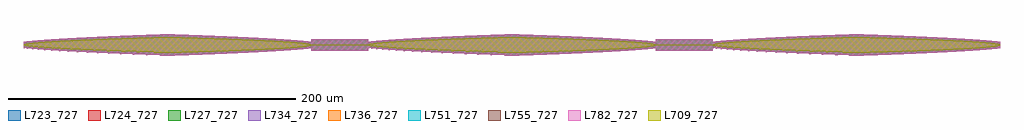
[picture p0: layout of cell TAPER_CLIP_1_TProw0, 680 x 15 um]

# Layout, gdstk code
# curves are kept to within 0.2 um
from math import pi, radians
import gdstk
lib = gdstk.Library(unit=1e-6, precision=1e-09)
def R(c, l, rs):  # rectangles x0, y0, x1, y1
    for r in rs: c.add(gdstk.rectangle(r[:2], r[2:], *l))
def P(c, l, *ps):  # polygons
    for p in ps: c.add(gdstk.Polygon(p, *l))
L709_727 = (709, 727)
L723_727 = (723, 727)
L724_727 = (724, 727)
L727_727 = (727, 727)
L734_727 = (734, 727)
L736_727 = (736, 727)
L751_727 = (751, 727)
L755_727 = (755, 727)
L782_727 = (782, 727)

taper_clip_1_tprow0_tp0_ = lib.new_cell('TAPER_CLIP_1_TProw0_tp0_TAPER_L')
P(taper_clip_1_tprow0_tp0_, L709_727, [(-100,0.225),(-97.574,0.885),(-92.161,1.555),(-72.988,2.865),(-42.449,4.175),(0,5.5),(0,-5.5),(-45.451,-4.065),(-77.002,-2.645),(-95.36,-1.205),(-99.389,-0.485),(-100,-0.225)])
P(taper_clip_1_tprow0_tp0_, L723_727, [(-100,2.225),(-85.015,3.555),(-63.513,4.865),(0,7.5),(0,-7.5),(-59.642,-5.065),(-96.116,-2.635),(-100,-2.225)])
P(taper_clip_1_tprow0_tp0_, L724_727, [(-100,2.225),(-85.015,3.555),(-63.513,4.865),(0,7.5),(0,-7.5),(-59.642,-5.065),(-96.116,-2.635),(-100,-2.225)])
P(taper_clip_1_tprow0_tp0_, L727_727, [(-100,2.225),(-85.015,3.555),(-63.513,4.865),(0,7.5),(0,-7.5),(-59.642,-5.065),(-96.116,-2.635),(-100,-2.225)])
P(taper_clip_1_tprow0_tp0_, L734_727, [(-100,2.225),(-85.015,3.555),(-63.513,4.865),(0,7.5),(0,-7.5),(-59.642,-5.065),(-96.116,-2.635),(-100,-2.225)])
P(taper_clip_1_tprow0_tp0_, L736_727, [(-100,2.225),(-85.015,3.555),(-63.513,4.865),(0,7.5),(0,-7.5),(-59.642,-5.065),(-96.116,-2.635),(-100,-2.225)])
P(taper_clip_1_tprow0_tp0_, L751_727, [(-100,2.225),(-85.015,3.555),(-63.513,4.865),(0,7.5),(0,-7.5),(-59.642,-5.065),(-96.116,-2.635),(-100,-2.225)])
P(taper_clip_1_tprow0_tp0_, L755_727, [(-100,2.225),(-85.015,3.555),(-63.513,4.865),(0,7.5),(0,-7.5),(-59.642,-5.065),(-96.116,-2.635),(-100,-2.225)])
P(taper_clip_1_tprow0_tp0_, L782_727, [(-100,2.225),(-85.015,3.555),(-63.513,4.865),(0,7.5),(0,-7.5),(-59.642,-5.065),(-96.116,-2.635),(-100,-2.225)])

c_taper_clip_1_tprow0_tp0_ = lib.new_cell('TAPER_CLIP_1_TProw0_tp0_TAPER_R')
P(c_taper_clip_1_tprow0_tp0_, L709_727, [(-100,0.225),(-97.574,0.885),(-92.161,1.555),(-72.988,2.865),(-42.449,4.175),(0,5.5),(0,-5.5),(-45.451,-4.065),(-77.002,-2.645),(-95.36,-1.205),(-99.389,-0.485),(-100,-0.225)])
P(c_taper_clip_1_tprow0_tp0_, L723_727, [(-100,2.225),(-85.015,3.555),(-63.513,4.865),(0,7.5),(0,-7.5),(-59.642,-5.065),(-96.116,-2.635),(-100,-2.225)])
P(c_taper_clip_1_tprow0_tp0_, L724_727, [(-100,2.225),(-85.015,3.555),(-63.513,4.865),(0,7.5),(0,-7.5),(-59.642,-5.065),(-96.116,-2.635),(-100,-2.225)])
P(c_taper_clip_1_tprow0_tp0_, L727_727, [(-100,2.225),(-85.015,3.555),(-63.513,4.865),(0,7.5),(0,-7.5),(-59.642,-5.065),(-96.116,-2.635),(-100,-2.225)])
P(c_taper_clip_1_tprow0_tp0_, L734_727, [(-100,2.225),(-85.015,3.555),(-63.513,4.865),(0,7.5),(0,-7.5),(-59.642,-5.065),(-96.116,-2.635),(-100,-2.225)])
P(c_taper_clip_1_tprow0_tp0_, L736_727, [(-100,2.225),(-85.015,3.555),(-63.513,4.865),(0,7.5),(0,-7.5),(-59.642,-5.065),(-96.116,-2.635),(-100,-2.225)])
P(c_taper_clip_1_tprow0_tp0_, L751_727, [(-100,2.225),(-85.015,3.555),(-63.513,4.865),(0,7.5),(0,-7.5),(-59.642,-5.065),(-96.116,-2.635),(-100,-2.225)])
P(c_taper_clip_1_tprow0_tp0_, L755_727, [(-100,2.225),(-85.015,3.555),(-63.513,4.865),(0,7.5),(0,-7.5),(-59.642,-5.065),(-96.116,-2.635),(-100,-2.225)])
P(c_taper_clip_1_tprow0_tp0_, L782_727, [(-100,2.225),(-85.015,3.555),(-63.513,4.865),(0,7.5),(0,-7.5),(-59.642,-5.065),(-96.116,-2.635),(-100,-2.225)])

taper_clip_1_tprow0_tp0 = lib.new_cell('TAPER_CLIP_1_TProw0_tp0')
taper_clip_1_tprow0_tp0.add(gdstk.Reference(taper_clip_1_tprow0_tp0_, (0,0)))
taper_clip_1_tprow0_tp0.add(gdstk.Reference(c_taper_clip_1_tprow0_tp0_, (0,0), rotation=pi, x_reflection=True))

taper_clip_1_tprow0_tp1_ = lib.new_cell('TAPER_CLIP_1_TProw0_tp1_TAPER_L')
P(taper_clip_1_tprow0_tp1_, L709_727, [(-100,0.225),(-97.574,0.885),(-92.161,1.555),(-72.988,2.865),(-42.449,4.175),(0,5.5),(0,-5.5),(-45.451,-4.065),(-77.002,-2.645),(-95.36,-1.205),(-99.389,-0.485),(-100,-0.225)])
P(taper_clip_1_tprow0_tp1_, L723_727, [(-100,2.225),(-85.015,3.555),(-63.513,4.865),(0,7.5),(0,-7.5),(-59.642,-5.065),(-96.116,-2.635),(-100,-2.225)])
P(taper_clip_1_tprow0_tp1_, L724_727, [(-100,2.225),(-85.015,3.555),(-63.513,4.865),(0,7.5),(0,-7.5),(-59.642,-5.065),(-96.116,-2.635),(-100,-2.225)])
P(taper_clip_1_tprow0_tp1_, L727_727, [(-100,2.225),(-85.015,3.555),(-63.513,4.865),(0,7.5),(0,-7.5),(-59.642,-5.065),(-96.116,-2.635),(-100,-2.225)])
P(taper_clip_1_tprow0_tp1_, L734_727, [(-100,2.225),(-85.015,3.555),(-63.513,4.865),(0,7.5),(0,-7.5),(-59.642,-5.065),(-96.116,-2.635),(-100,-2.225)])
P(taper_clip_1_tprow0_tp1_, L736_727, [(-100,2.225),(-85.015,3.555),(-63.513,4.865),(0,7.5),(0,-7.5),(-59.642,-5.065),(-96.116,-2.635),(-100,-2.225)])
P(taper_clip_1_tprow0_tp1_, L751_727, [(-100,2.225),(-85.015,3.555),(-63.513,4.865),(0,7.5),(0,-7.5),(-59.642,-5.065),(-96.116,-2.635),(-100,-2.225)])
P(taper_clip_1_tprow0_tp1_, L755_727, [(-100,2.225),(-85.015,3.555),(-63.513,4.865),(0,7.5),(0,-7.5),(-59.642,-5.065),(-96.116,-2.635),(-100,-2.225)])
P(taper_clip_1_tprow0_tp1_, L782_727, [(-100,2.225),(-85.015,3.555),(-63.513,4.865),(0,7.5),(0,-7.5),(-59.642,-5.065),(-96.116,-2.635),(-100,-2.225)])

c_taper_clip_1_tprow0_tp1_ = lib.new_cell('TAPER_CLIP_1_TProw0_tp1_TAPER_R')
P(c_taper_clip_1_tprow0_tp1_, L709_727, [(-100,0.225),(-97.574,0.885),(-92.161,1.555),(-72.988,2.865),(-42.449,4.175),(0,5.5),(0,-5.5),(-45.451,-4.065),(-77.002,-2.645),(-95.36,-1.205),(-99.389,-0.485),(-100,-0.225)])
P(c_taper_clip_1_tprow0_tp1_, L723_727, [(-100,2.225),(-85.015,3.555),(-63.513,4.865),(0,7.5),(0,-7.5),(-59.642,-5.065),(-96.116,-2.635),(-100,-2.225)])
P(c_taper_clip_1_tprow0_tp1_, L724_727, [(-100,2.225),(-85.015,3.555),(-63.513,4.865),(0,7.5),(0,-7.5),(-59.642,-5.065),(-96.116,-2.635),(-100,-2.225)])
P(c_taper_clip_1_tprow0_tp1_, L727_727, [(-100,2.225),(-85.015,3.555),(-63.513,4.865),(0,7.5),(0,-7.5),(-59.642,-5.065),(-96.116,-2.635),(-100,-2.225)])
P(c_taper_clip_1_tprow0_tp1_, L734_727, [(-100,2.225),(-85.015,3.555),(-63.513,4.865),(0,7.5),(0,-7.5),(-59.642,-5.065),(-96.116,-2.635),(-100,-2.225)])
P(c_taper_clip_1_tprow0_tp1_, L736_727, [(-100,2.225),(-85.015,3.555),(-63.513,4.865),(0,7.5),(0,-7.5),(-59.642,-5.065),(-96.116,-2.635),(-100,-2.225)])
P(c_taper_clip_1_tprow0_tp1_, L751_727, [(-100,2.225),(-85.015,3.555),(-63.513,4.865),(0,7.5),(0,-7.5),(-59.642,-5.065),(-96.116,-2.635),(-100,-2.225)])
P(c_taper_clip_1_tprow0_tp1_, L755_727, [(-100,2.225),(-85.015,3.555),(-63.513,4.865),(0,7.5),(0,-7.5),(-59.642,-5.065),(-96.116,-2.635),(-100,-2.225)])
P(c_taper_clip_1_tprow0_tp1_, L782_727, [(-100,2.225),(-85.015,3.555),(-63.513,4.865),(0,7.5),(0,-7.5),(-59.642,-5.065),(-96.116,-2.635),(-100,-2.225)])

taper_clip_1_tprow0_tp1 = lib.new_cell('TAPER_CLIP_1_TProw0_tp1')
taper_clip_1_tprow0_tp1.add(gdstk.Reference(taper_clip_1_tprow0_tp1_, (0,0)))
taper_clip_1_tprow0_tp1.add(gdstk.Reference(c_taper_clip_1_tprow0_tp1_, (0,0), rotation=pi, x_reflection=True))

taper_clip_1_tprow0_wg1 = lib.new_cell('TAPER_CLIP_1_TProw0_WG1')
R(taper_clip_1_tprow0_wg1, L709_727, [(100,-0.2,140,0.2)])
P(taper_clip_1_tprow0_wg1, L723_727, [(100,-4),(140,-4),(140,-0.2),(140,0.2),(140,4),(100,4),(100,0.2),(100,-0.2)])
P(taper_clip_1_tprow0_wg1, L724_727, [(100,-4),(140,-4),(140,-0.2),(140,0.2),(140,4),(100,4),(100,0.2),(100,-0.2)])
P(taper_clip_1_tprow0_wg1, L727_727, [(100,-4),(140,-4),(140,-0.2),(140,0.2),(140,4),(100,4),(100,0.2),(100,-0.2)])
P(taper_clip_1_tprow0_wg1, L734_727, [(100,-4),(140,-4),(140,-0.2),(140,0.2),(140,4),(100,4),(100,0.2),(100,-0.2)])
P(taper_clip_1_tprow0_wg1, L736_727, [(100,-4),(140,-4),(140,-0.2),(140,0.2),(140,4),(100,4),(100,0.2),(100,-0.2)])
P(taper_clip_1_tprow0_wg1, L751_727, [(100,-4),(140,-4),(140,-0.2),(140,0.2),(140,4),(100,4),(100,0.2),(100,-0.2)])
P(taper_clip_1_tprow0_wg1, L755_727, [(100,-4),(140,-4),(140,-0.2),(140,0.2),(140,4),(100,4),(100,0.2),(100,-0.2)])
P(taper_clip_1_tprow0_wg1, L782_727, [(100,-4),(140,-4),(140,-0.2),(140,0.2),(140,4),(100,4),(100,0.2),(100,-0.2)])

taper_clip_1_tprow0_tp2_ = lib.new_cell('TAPER_CLIP_1_TProw0_tp2_TAPER_L')
P(taper_clip_1_tprow0_tp2_, L709_727, [(-100,0.225),(-97.574,0.885),(-92.161,1.555),(-72.988,2.865),(-42.449,4.175),(0,5.5),(0,-5.5),(-45.451,-4.065),(-77.002,-2.645),(-95.36,-1.205),(-99.389,-0.485),(-100,-0.225)])
P(taper_clip_1_tprow0_tp2_, L723_727, [(-100,2.225),(-85.015,3.555),(-63.513,4.865),(0,7.5),(0,-7.5),(-59.642,-5.065),(-96.116,-2.635),(-100,-2.225)])
P(taper_clip_1_tprow0_tp2_, L724_727, [(-100,2.225),(-85.015,3.555),(-63.513,4.865),(0,7.5),(0,-7.5),(-59.642,-5.065),(-96.116,-2.635),(-100,-2.225)])
P(taper_clip_1_tprow0_tp2_, L727_727, [(-100,2.225),(-85.015,3.555),(-63.513,4.865),(0,7.5),(0,-7.5),(-59.642,-5.065),(-96.116,-2.635),(-100,-2.225)])
P(taper_clip_1_tprow0_tp2_, L734_727, [(-100,2.225),(-85.015,3.555),(-63.513,4.865),(0,7.5),(0,-7.5),(-59.642,-5.065),(-96.116,-2.635),(-100,-2.225)])
P(taper_clip_1_tprow0_tp2_, L736_727, [(-100,2.225),(-85.015,3.555),(-63.513,4.865),(0,7.5),(0,-7.5),(-59.642,-5.065),(-96.116,-2.635),(-100,-2.225)])
P(taper_clip_1_tprow0_tp2_, L751_727, [(-100,2.225),(-85.015,3.555),(-63.513,4.865),(0,7.5),(0,-7.5),(-59.642,-5.065),(-96.116,-2.635),(-100,-2.225)])
P(taper_clip_1_tprow0_tp2_, L755_727, [(-100,2.225),(-85.015,3.555),(-63.513,4.865),(0,7.5),(0,-7.5),(-59.642,-5.065),(-96.116,-2.635),(-100,-2.225)])
P(taper_clip_1_tprow0_tp2_, L782_727, [(-100,2.225),(-85.015,3.555),(-63.513,4.865),(0,7.5),(0,-7.5),(-59.642,-5.065),(-96.116,-2.635),(-100,-2.225)])

c_taper_clip_1_tprow0_tp2_ = lib.new_cell('TAPER_CLIP_1_TProw0_tp2_TAPER_R')
P(c_taper_clip_1_tprow0_tp2_, L709_727, [(-100,0.225),(-97.574,0.885),(-92.161,1.555),(-72.988,2.865),(-42.449,4.175),(0,5.5),(0,-5.5),(-45.451,-4.065),(-77.002,-2.645),(-95.36,-1.205),(-99.389,-0.485),(-100,-0.225)])
P(c_taper_clip_1_tprow0_tp2_, L723_727, [(-100,2.225),(-85.015,3.555),(-63.513,4.865),(0,7.5),(0,-7.5),(-59.642,-5.065),(-96.116,-2.635),(-100,-2.225)])
P(c_taper_clip_1_tprow0_tp2_, L724_727, [(-100,2.225),(-85.015,3.555),(-63.513,4.865),(0,7.5),(0,-7.5),(-59.642,-5.065),(-96.116,-2.635),(-100,-2.225)])
P(c_taper_clip_1_tprow0_tp2_, L727_727, [(-100,2.225),(-85.015,3.555),(-63.513,4.865),(0,7.5),(0,-7.5),(-59.642,-5.065),(-96.116,-2.635),(-100,-2.225)])
P(c_taper_clip_1_tprow0_tp2_, L734_727, [(-100,2.225),(-85.015,3.555),(-63.513,4.865),(0,7.5),(0,-7.5),(-59.642,-5.065),(-96.116,-2.635),(-100,-2.225)])
P(c_taper_clip_1_tprow0_tp2_, L736_727, [(-100,2.225),(-85.015,3.555),(-63.513,4.865),(0,7.5),(0,-7.5),(-59.642,-5.065),(-96.116,-2.635),(-100,-2.225)])
P(c_taper_clip_1_tprow0_tp2_, L751_727, [(-100,2.225),(-85.015,3.555),(-63.513,4.865),(0,7.5),(0,-7.5),(-59.642,-5.065),(-96.116,-2.635),(-100,-2.225)])
P(c_taper_clip_1_tprow0_tp2_, L755_727, [(-100,2.225),(-85.015,3.555),(-63.513,4.865),(0,7.5),(0,-7.5),(-59.642,-5.065),(-96.116,-2.635),(-100,-2.225)])
P(c_taper_clip_1_tprow0_tp2_, L782_727, [(-100,2.225),(-85.015,3.555),(-63.513,4.865),(0,7.5),(0,-7.5),(-59.642,-5.065),(-96.116,-2.635),(-100,-2.225)])

taper_clip_1_tprow0_tp2 = lib.new_cell('TAPER_CLIP_1_TProw0_tp2')
taper_clip_1_tprow0_tp2.add(gdstk.Reference(taper_clip_1_tprow0_tp2_, (0,0)))
taper_clip_1_tprow0_tp2.add(gdstk.Reference(c_taper_clip_1_tprow0_tp2_, (0,0), rotation=pi, x_reflection=True))

taper_clip_1_tprow0_wg2 = lib.new_cell('TAPER_CLIP_1_TProw0_WG2')
R(taper_clip_1_tprow0_wg2, L709_727, [(340,-0.2,380,0.2)])
P(taper_clip_1_tprow0_wg2, L723_727, [(340,-4),(380,-4),(380,-0.2),(380,0.2),(380,4),(340,4),(340,0.2),(340,-0.2)])
P(taper_clip_1_tprow0_wg2, L724_727, [(340,-4),(380,-4),(380,-0.2),(380,0.2),(380,4),(340,4),(340,0.2),(340,-0.2)])
P(taper_clip_1_tprow0_wg2, L727_727, [(340,-4),(380,-4),(380,-0.2),(380,0.2),(380,4),(340,4),(340,0.2),(340,-0.2)])
P(taper_clip_1_tprow0_wg2, L734_727, [(340,-4),(380,-4),(380,-0.2),(380,0.2),(380,4),(340,4),(340,0.2),(340,-0.2)])
P(taper_clip_1_tprow0_wg2, L736_727, [(340,-4),(380,-4),(380,-0.2),(380,0.2),(380,4),(340,4),(340,0.2),(340,-0.2)])
P(taper_clip_1_tprow0_wg2, L751_727, [(340,-4),(380,-4),(380,-0.2),(380,0.2),(380,4),(340,4),(340,0.2),(340,-0.2)])
P(taper_clip_1_tprow0_wg2, L755_727, [(340,-4),(380,-4),(380,-0.2),(380,0.2),(380,4),(340,4),(340,0.2),(340,-0.2)])
P(taper_clip_1_tprow0_wg2, L782_727, [(340,-4),(380,-4),(380,-0.2),(380,0.2),(380,4),(340,4),(340,0.2),(340,-0.2)])

taper_clip_1_tprow0 = lib.new_cell('TAPER_CLIP_1_TProw0')
taper_clip_1_tprow0.add(gdstk.Reference(taper_clip_1_tprow0_tp0, (0,0)))
taper_clip_1_tprow0.add(gdstk.Reference(taper_clip_1_tprow0_tp1, (240,0)))
taper_clip_1_tprow0.add(gdstk.Reference(taper_clip_1_tprow0_wg1, (0,0)))
taper_clip_1_tprow0.add(gdstk.Reference(taper_clip_1_tprow0_tp2, (480,0)))
taper_clip_1_tprow0.add(gdstk.Reference(taper_clip_1_tprow0_wg2, (0,0)))

lib.write_gds('TAPER_CLIP_1_TProw0.gds')
